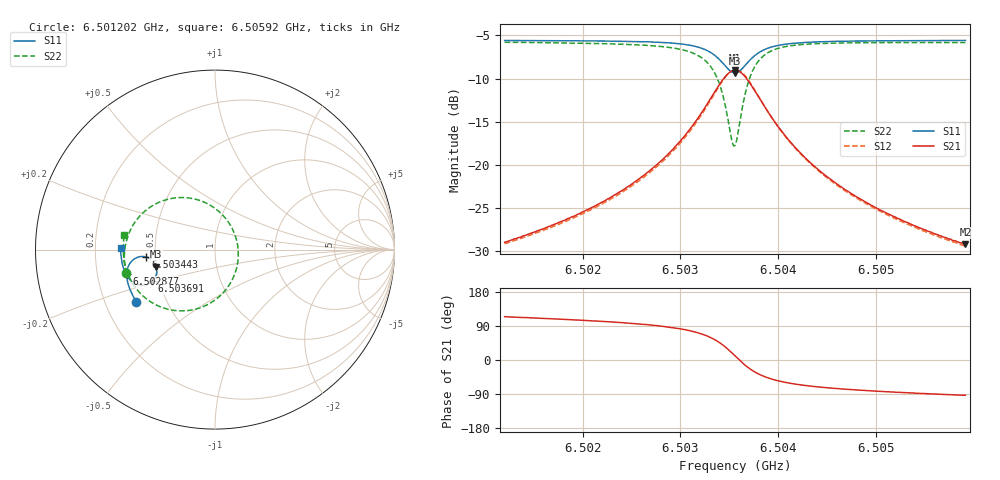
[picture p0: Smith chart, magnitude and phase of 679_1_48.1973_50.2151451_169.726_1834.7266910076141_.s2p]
#  HZ  S  RI  R  50.00
! Rohde & Schwarz Vector Network Analyzer
! Rohde-Schwarz,ZNB20-2Port,1311601062101988,3.16
! Created: UTC 3/20/2024, 12:06:33 PM
! freq[Hz]  re:S11  im:S11  re:S21  im:S21  re:S12  im:S12  re:S22  im:S22
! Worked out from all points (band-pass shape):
!   401 points, 6.501202 GHz to 6.50592 GHz, reference 50 ohm
!   highest |S21| = -9.04 dB at 6.503561 GHz (marker M1); lowest = -29.2 dB at 6.50592 GHz (marker M2)
!   |S21| within 3 dB of the highest: 6.503326 GHz to 6.503798 GHz (471.9 kHz wide, 0.00726 % of centre)
!   lowest |S11| = -9.3 dB at 6.503561 GHz (marker M3), VSWR 2.03, Z = 25 - j5.38 ohm
!   |S11| at or under -10 dB: nowhere
!   |S22| runs from -17.8 to -5.8 dB; largest |S21 - S12| = 0.014
!   S11 on the Smith chart (normalised r, x): 6.501202 GHz: 0.34, -0.27; 6.502877 GHz: 0.33, -0.12; 6.503443 GHz: 0.45, -0.04; 6.503691 GHz: 0.46, -0.19; 6.50592 GHz: 0.31, +0.01
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6.5012023e9  -0.4386 -0.2901  -0.0147 0.0325  -0.0126 0.0326  -0.496 -0.1328
6.5019925e9  -0.4705 -0.2295  -0.0137 0.0514  -0.0108 0.0508  -0.5054 -0.045
6.5024172e9  -0.4843 -0.1904  -0.0104 0.0711  -0.00685 0.0698  -0.5 0.0187
6.5027828e9  -0.4916 -0.148  -0.000241 0.103  0.00424 0.1001  -0.4769 0.0969
6.5028772e9  -0.4918 -0.1346  0.0058 0.1154  0.0103 0.1122  -0.464 0.1237
6.5030777e9  -0.4856 -0.0999  0.031 0.152  0.0353 0.147  -0.412 0.1943
6.5032192e9  -0.469 -0.0696  0.0726 0.187  0.0761 0.1802  -0.3317 0.2541
6.503349e9  -0.4312 -0.0429  0.1528 0.2131  0.1541 0.2056  -0.1859 0.29
6.5034434e9  -0.3829 -0.041  0.2475 0.1955  0.2483 0.1893  -0.0219 0.2443
6.5035259e9  -0.3385 -0.0721  0.3286 0.1174  0.3316 0.1115  0.1079 0.0908
6.5035613e9  -0.3272 -0.0952  0.3468 0.0666  0.3509 0.0594  0.1294 -0.00471
6.5035849e9  -0.3241 -0.1124  0.3503 0.0304  0.3546 0.022  0.1268 -0.071
6.5036203e9  -0.3266 -0.1376  0.3423 -0.0218  0.346 -0.0328  0.098 -0.1642
6.5036911e9  -0.35 -0.1765  0.2932 -0.1011  0.2927 -0.1148  -0.0176 -0.2929
6.5037382e9  -0.3714 -0.1906  0.2511 -0.1311  0.2477 -0.1442  -0.1056 -0.3313
6.5037972e9  -0.3976 -0.1975  0.2021 -0.1479  0.1957 -0.1593  -0.2023 -0.341
6.5039505e9  -0.4464 -0.1879  0.1146 -0.1433  0.1061 -0.1492  -0.36 -0.2898
6.5041157e9  -0.475 -0.1664  0.0671 -0.121  0.0598 -0.1236  -0.4362 -0.2206
6.5043516e9  -0.4963 -0.1365  0.0354 -0.0944  0.0298 -0.0951  -0.4815 -0.145
6.5046936e9  -0.5113 -0.0991  0.016 -0.0698  0.0121 -0.0695  -0.5045 -0.0701
6.5051419e9  -0.5208 -0.0562  0.00534 -0.0514  0.0026 -0.0507  -0.5113 -0.00222
6.5059203e9  -0.5259 0.0106  -0.00189 -0.0346  -0.00365 -0.0336  -0.5044 0.0839
